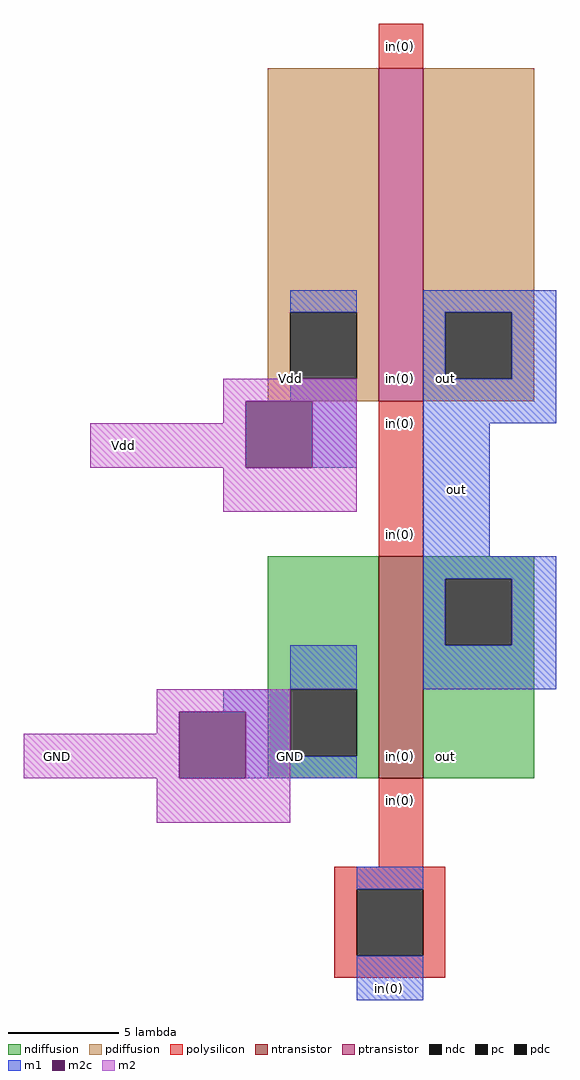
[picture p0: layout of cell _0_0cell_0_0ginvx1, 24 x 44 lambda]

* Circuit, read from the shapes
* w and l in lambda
.subckt _0_0cell_0_0ginvx1 GND Vdd in(0) out
M1 out in(0) GND VSUBS nfet w=10 l=2
M2 out in(0) Vdd NWELL pfet w=15 l=2
.ends

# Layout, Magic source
magic
tech sky130l
<< ndiffusion >>
rect 8 10 13 16
rect 8 7 9 10
rect 12 7 13 10
rect 8 6 13 7
rect 15 15 20 16
rect 15 12 16 15
rect 19 12 20 15
rect 15 6 20 12
<< ndc >>
rect 9 7 12 10
rect 16 12 19 15
<< ntransistor >>
rect 13 6 15 16
<< pdiffusion >>
rect 8 27 13 38
rect 8 24 9 27
rect 12 24 13 27
rect 8 23 13 24
rect 15 27 20 38
rect 15 24 16 27
rect 19 24 20 27
rect 15 23 20 24
<< pdc >>
rect 9 24 12 27
rect 16 24 19 27
<< ptransistor >>
rect 13 23 15 38
<< polysilicon >>
rect 13 38 15 40
rect 13 16 15 23
rect 13 2 15 6
rect 11 1 16 2
rect 11 -2 12 1
rect 15 -2 16 1
rect 11 -3 16 -2
<< pc >>
rect 12 -2 15 1
<< m1 >>
rect 9 27 12 28
rect 9 23 12 24
rect 10 20 12 23
rect 15 27 21 28
rect 15 24 16 27
rect 19 24 21 27
rect 15 22 21 24
rect 15 16 18 22
rect 15 15 21 16
rect 15 12 16 15
rect 19 12 21 15
rect 9 10 12 12
rect 15 10 21 12
rect 6 9 9 10
rect 7 7 9 9
rect 7 6 12 7
rect 12 1 15 2
rect 12 -4 15 -2
<< m2c >>
rect 7 20 10 23
rect 4 6 7 9
<< m2 >>
rect 6 23 12 24
rect 6 22 7 23
rect 0 20 7 22
rect 10 20 12 23
rect 6 18 12 20
rect 3 9 9 10
rect 3 8 4 9
rect -3 6 4 8
rect 7 6 9 9
rect 3 4 9 6
<< labels >>
rlabel ndiffusion 16 7 16 7 3 out
rlabel pdiffusion 16 24 16 24 3 out
rlabel polysilicon 14 5 14 5 3 in(0)
rlabel ntransistor 14 7 14 7 3 in(0)
rlabel polysilicon 14 17 14 17 3 in(0)
rlabel polysilicon 14 22 14 22 3 in(0)
rlabel ptransistor 14 24 14 24 3 in(0)
rlabel polysilicon 14 39 14 39 3 in(0)
rlabel ndiffusion 9 7 9 7 3 GND
rlabel pdiffusion 9 24 9 24 3 Vdd
rlabel m2 -3 6 0 8 2 GND
rlabel m2 0 20 3 22 3 Vdd
rlabel m1 12 -4 15 -3 1 in(0)
rlabel m1 15 18 18 20 7 out
<< end >>
